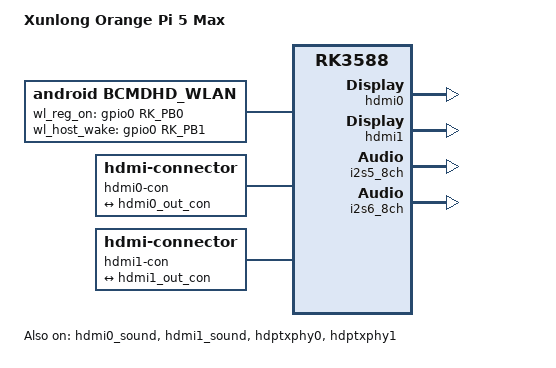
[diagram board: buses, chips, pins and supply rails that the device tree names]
// SPDX-License-Identifier: (GPL-2.0+ OR MIT)

/dts-v1/;

#include <dt-bindings/gpio/gpio.h>
#include <dt-bindings/pinctrl/rockchip.h>
#include <dt-bindings/soc/rockchip,vop2.h>
#include "rk3588-orangepi-5-compact.dtsi"

/ {
	model = "Xunlong Orange Pi 5 Max";
	compatible = "xunlong,orangepi-5-max", "rockchip,rk3588";

	bcmdhd_wlan {
		compatible = "android,bcmdhd_wlan";
		pinctrl-names = "default";
		pinctrl-0 = <&wifi_host_wake_irq>;
		gpio_wl_reg_on = <&gpio0 RK_PB0 GPIO_ACTIVE_HIGH>;        /* wifi reg_on pin */
        gpio_wl_host_wake = <&gpio0 RK_PB1 GPIO_ACTIVE_HIGH>;      /* wifi host wake (OOB) pin */
	};

	hdmi0-con {
		compatible = "hdmi-connector";
		type = "a";

		port {
			hdmi0_con_in: endpoint {
				remote-endpoint = <&hdmi0_out_con>;
			};
		};
	};

	hdmi1-con {
		compatible = "hdmi-connector";
		type = "a";

		port {
			hdmi1_con_in: endpoint {
				remote-endpoint = <&hdmi1_out_con>;
			};
		};
	};
};

&hdmi0 {
	status = "okay";
};

&hdmi0_in {
	hdmi0_in_vp0: endpoint {
		remote-endpoint = <&vp0_out_hdmi0>;
	};
};

&hdmi0_out {
	hdmi0_out_con: endpoint {
		remote-endpoint = <&hdmi0_con_in>;
	};
};

&hdmi0_sound {
	status = "okay";
};

&hdmi1 {
	pinctrl-names = "default";
	pinctrl-0 = <&hdmim0_tx1_cec &hdmim0_tx1_hpd
			     &hdmim1_tx1_scl &hdmim1_tx1_sda>;
	status = "okay";
};

&hdmi1_in {
	hdmi1_in_vp1: endpoint {
		remote-endpoint = <&vp1_out_hdmi1>;
	};
};

&hdmi1_out {
	hdmi1_out_con: endpoint {
		remote-endpoint = <&hdmi1_con_in>;
	};
};

&hdmi1_sound {
	status = "okay";
};

&hdptxphy0 {
	status = "okay";
};

&hdptxphy1 {
	status = "okay";
};

&i2s5_8ch {
	status = "okay";
};

&i2s6_8ch {
	status = "okay";
};

&led_blue_pwm {
	pwms = <&pwm4 0 25000 0>;
};

&led_green_pwm {
	pwms = <&pwm5 0 25000 0>;
};

&pinctrl {

	usb {
		usb_otg_pwren: usb-otg-pwren {
			rockchip,pins = <4 RK_PB3 RK_FUNC_GPIO &pcfg_pull_none>;
		};
	};
	
	wireless-wlan {
		wifi_host_wake_irq: wifi-host-wake-irq {
			rockchip,pins = <0 RK_PB0 RK_FUNC_GPIO &pcfg_pull_down>;
		};
	};
};

&vp0 {
	vp0_out_hdmi0: endpoint@ROCKCHIP_VOP2_EP_HDMI0 {
		reg = <ROCKCHIP_VOP2_EP_HDMI0>;
		remote-endpoint = <&hdmi0_in_vp0>;
	};
};

&vp1 {
	vp1_out_hdmi1: endpoint@ROCKCHIP_VOP2_EP_HDMI1 {
		reg = <ROCKCHIP_VOP2_EP_HDMI1>;
		remote-endpoint = <&hdmi1_in_vp1>;
	};
};
